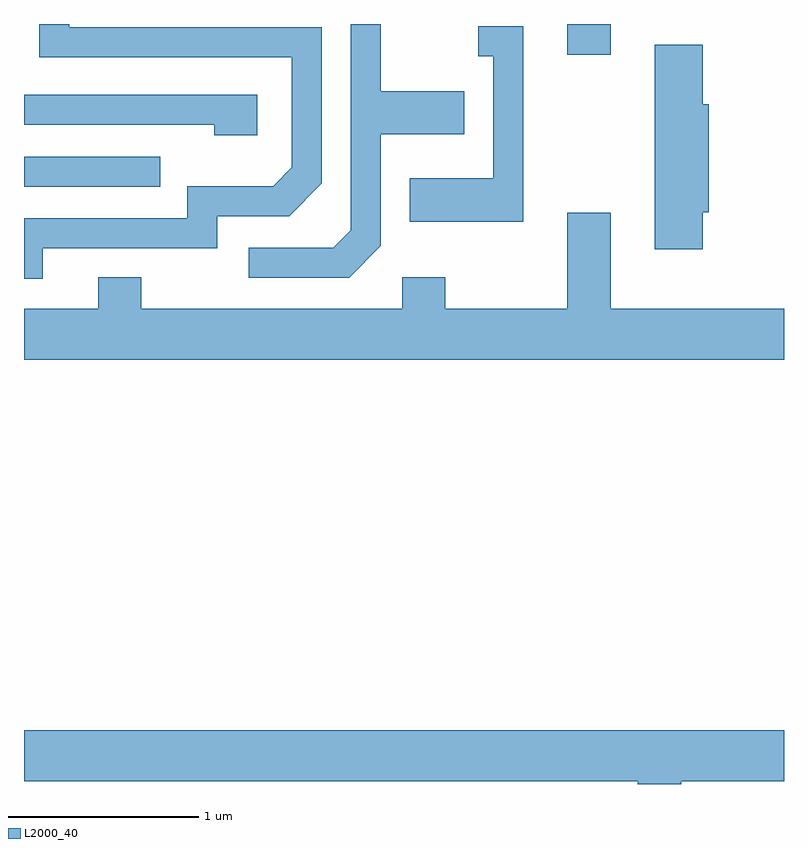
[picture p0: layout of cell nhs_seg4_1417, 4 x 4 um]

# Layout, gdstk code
import gdstk
lib = gdstk.Library(unit=1e-6, precision=1e-09)
def R(c, l, rs):  # rectangles x0, y0, x1, y1
    for r in rs: c.add(gdstk.rectangle(r[:2], r[2:], *l))
def P(c, l, *ps):  # polygons
    for p in ps: c.add(gdstk.Polygon(p, *l))
L2000_40 = (2000, 40)

nhs_seg4_1417 = lib.new_cell('nhs_seg4_1417')
R(nhs_seg4_1417, L2000_40, [(225.611,1371.126,226.328,1371.284), (228.471,1371.821,228.699,1371.982)])
P(nhs_seg4_1417, L2000_40, [(227.489,1370.814),(227.489,1371.401),(227.929,1371.401),(227.929,1371.629),(227.489,1371.629),(227.489,1371.982),(227.331,1371.982),(227.331,1370.897),(227.239,1370.804),(226.793,1370.804),(226.793,1370.646),(227.322,1370.646)],
  [(225.709,1370.801),(226.629,1370.801),(226.629,1370.971),(227.007,1370.971),(227.179,1371.144),(227.179,1371.964),(225.849,1371.964),(225.849,1371.982),(225.691,1371.982),(225.691,1371.806),(227.021,1371.806),(227.021,1371.227),(226.924,1371.129),(226.471,1371.129),(226.471,1370.959),(225.611,1370.959),(225.611,1370.641),(225.709,1370.641)],
  [(228.239,1371.969),(228.003,1371.969),(228.003,1371.811),(228.081,1371.811),(228.081,1371.169),(227.641,1371.169),(227.641,1370.941),(228.239,1370.941)],
  [(229.184,1370.991),(229.214,1370.991),(229.214,1371.559),(229.184,1371.559),(229.184,1371.874),(228.931,1371.874),(228.931,1370.796),(229.184,1370.796)],
  [(226.839,1371.609),(225.611,1371.609),(225.611,1371.451),(226.611,1371.451),(226.611,1371.396),(226.839,1371.396)],
  [(229.611,1370.484),(228.699,1370.484),(228.699,1370.989),(228.471,1370.989),(228.471,1370.484),(227.829,1370.484),(227.829,1370.649),(227.601,1370.649),(227.601,1370.484),(226.229,1370.484),(226.229,1370.649),(226.001,1370.649),(226.001,1370.484),(225.611,1370.484),(225.611,1370.216),(229.611,1370.216)],
  [(229.069,1367.996),(229.611,1367.996),(229.611,1368.264),(225.611,1368.264),(225.611,1367.996),(228.841,1367.996),(228.841,1367.982),(229.069,1367.982)])

lib.write_gds('nhs_seg4_1417.gds')
